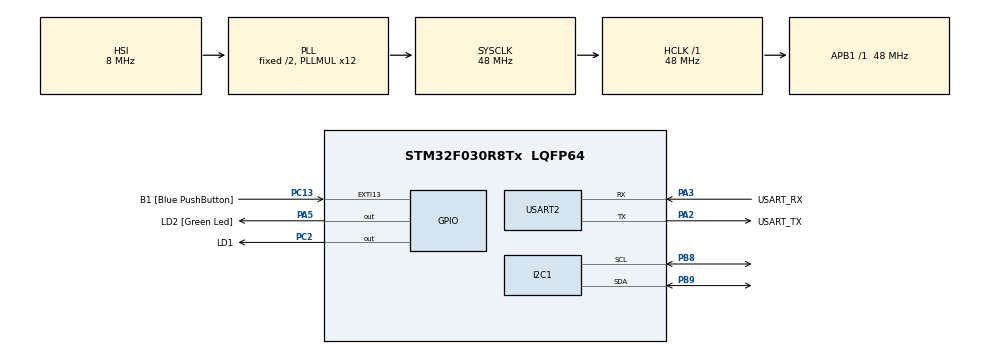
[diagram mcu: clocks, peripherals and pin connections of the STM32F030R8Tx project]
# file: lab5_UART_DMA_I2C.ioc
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Dma.Request0=USART2_RX
Dma.USART2_RX.0.Direction=DMA_PERIPH_TO_MEMORY
Dma.USART2_RX.0.Instance=DMA1_Channel5
Dma.USART2_RX.0.MemDataAlignment=DMA_MDATAALIGN_BYTE
Dma.USART2_RX.0.MemInc=DMA_MINC_ENABLE
Dma.USART2_RX.0.Mode=DMA_CIRCULAR
Dma.USART2_RX.0.PeriphDataAlignment=DMA_PDATAALIGN_BYTE
Dma.USART2_RX.0.PeriphInc=DMA_PINC_DISABLE
Dma.USART2_RX.0.Priority=DMA_PRIORITY_LOW
Mcu.Family=STM32F0
Mcu.Name=STM32F030R8Tx
Mcu.Package=LQFP64
NVIC.DMA1_Channel4_5_IRQn=true\:0\:0\:false\:false\:true\:false\:true
PA13.GPIO_Label=TMS
PA13.Mode=Serial_Wire
PA13.Signal=SYS_SWDIO
PA14.GPIO_Label=TCK
PA14.Mode=Serial_Wire
PA14.Signal=SYS_SWCLK
PA2.GPIO_Label=USART_TX
PA2.GPIO_Mode=GPIO_MODE_AF_PP
PA2.GPIO_PuPd=GPIO_NOPULL
PA2.GPIO_Speed=GPIO_SPEED_FREQ_LOW
PA2.Mode=Asynchronous
PA2.Signal=USART2_TX
PA3.GPIO_Label=USART_RX
PA3.GPIO_Mode=GPIO_MODE_AF_PP
PA3.GPIO_PuPd=GPIO_NOPULL
PA3.GPIO_Speed=GPIO_SPEED_FREQ_LOW
PA3.Mode=Asynchronous
PA3.Signal=USART2_RX
PA5.GPIO_Label=LD2 [Green Led]
PA5.GPIO_Mode=GPIO_MODE_OUTPUT_PP
PA5.GPIO_PuPd=GPIO_NOPULL
PA5.GPIO_Speed=GPIO_SPEED_FREQ_LOW
PA5.Signal=GPIO_Output
PB8.Mode=I2C
PB8.Signal=I2C1_SCL
PB9.Mode=I2C
PB9.Signal=I2C1_SDA
PC13.GPIO_Label=B1 [Blue PushButton]
PC13.GPIO_ModeDefaultEXTI=GPIO_MODE_IT_FALLING
PC13.Signal=GPXTI13
PC14-OSC32_IN.Mode=LSE-External-Oscillator
PC14-OSC32_IN.Signal=RCC_OSC32_IN
PC15-OSC32_OUT.Mode=LSE-External-Oscillator
PC15-OSC32_OUT.Signal=RCC_OSC32_OUT
PC2.GPIO_Label=LD1
PC2.Signal=GPIO_Output
PF0-OSC_IN.Mode=HSE-External-Clock-Source
PF0-OSC_IN.Signal=RCC_OSC_IN
PF1-OSC_OUT.Signal=RCC_OSC_OUT
ProjectManager.HeapSize=0x200
ProjectManager.StackSize=0x400
ProjectManager.TargetToolchain=STM32CubeIDE
RCC.AHBFreq_Value=48000000
RCC.APB1Freq_Value=48000000
RCC.APB1TimFreq_Value=48000000
RCC.HCLKFreq_Value=48000000
RCC.PLLMUL=RCC_PLL_MUL12
RCC.SYSCLKFreq_VALUE=48000000
RCC.SYSCLKSource=RCC_SYSCLKSOURCE_PLLCLK
USART2.VirtualMode-Asynchronous=VM_ASYNC
board=NUCLEO-F030R8

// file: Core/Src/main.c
/* USER CODE BEGIN Header */
/**
  ******************************************************************************
  * @file           : main.c
  * @brief          : Main program body
  ******************************************************************************
  * @attention
  *
  * <h2><center>&copy; Copyright (c) 2021 STMicroelectronics.
  * All rights reserved.</center></h2>
  *
  * This software component is licensed by ST under BSD 3-Clause license,
  * the "License"; You may not use this file except in compliance with the
  * License. You may obtain a copy of the License at:
  *                        opensource.org/licenses/BSD-3-Clause
  *
  ******************************************************************************
  */
/* USER CODE END Header */
#include "main.h"

/* USER CODE BEGIN Includes */
#include <stdio.h> //for printf
#include <string.h> //strtoc, strcmp

/* USER CODE END Includes */

I2C_HandleTypeDef hi2c1;

UART_HandleTypeDef huart2;
DMA_HandleTypeDef hdma_usart2_rx;

/* USER CODE BEGIN PV */
#define RX_BUFFER_LEN 64
#define CMD_BUFFER_LEN 64
#define EEPROM_ADDR 0xA0
static uint8_t uart_rx_buffer[RX_BUFFER_LEN];
static volatile uint16_t uart_rx_pointer_read = 0;
#define uart_rx_pointer_write (RX_BUFFER_LEN - hdma_usart2_rx.Instance->CNDTR)

/* USER CODE END PV */

void SystemClock_Config(void);
static void MX_GPIO_Init(void);
static void MX_DMA_Init(void);
static void MX_USART2_UART_Init(void);
static void MX_I2C1_Init(void);
/* USER CODE BEGIN PFP */
static void uart_process_command(char *cmd)
{
	//printf is overloaded to print data into UART2
	//printf("received: '%s'\n", cmd);

	char *command;
	command = strtok(cmd, " "); //similarly to python's list.split, but takes only first one..
	if (  strcasecmp(command, "HELLO") == 0   ){
		printf("I'm ready!\n");
	}

	else if (  strcasecmp(command, "LED2") == 0   )
	{
		command = strtok(NULL, " "); //take last result from strtok -> 2nd word
		printf("I'm ready!\n");
		if (  strcasecmp(command, "ON") == 0   ){
			HAL_GPIO_WritePin(LD2_GPIO_Port, LD2_Pin,GPIO_PIN_SET );
			printf("Turning LED2 ON\n");
		}
		else if (  strcasecmp(command, "OFF") == 0   ){
			HAL_GPIO_WritePin(LD2_GPIO_Port, LD2_Pin,GPIO_PIN_RESET );
			printf("Turning LED2 OFF\n");
		}
	}

	else if (  strcasecmp(command, "LED1") == 0   )
	{
		command = strtok(NULL, " "); //take last result from strtok -> 2nd word
		printf("I'm ready!\n");
		if (  strcasecmp(command, "ON") == 0   ){
			HAL_GPIO_WritePin(LD1_GPIO_Port, LD1_Pin,GPIO_PIN_SET );
			printf("Turning LED1 ON\n");
		}
		if (  strcasecmp(command, "OFF") == 0   ){
			HAL_GPIO_WritePin(LD1_GPIO_Port, LD1_Pin,GPIO_PIN_RESET );
			printf("Turning LED1 OFF\n");
		}
	}

	else if (  strcasecmp(command, "STATUS") == 0   )
	{
		if (HAL_GPIO_ReadPin(LD1_GPIO_Port,LD1_Pin ) == 0 )
			printf("status LED 1: OFF");
		else {
			printf("status LED 1: ON");
		}

		if (HAL_GPIO_ReadPin(LD2_GPIO_Port,LD2_Pin ) == 0 )
			printf("status LED 2: OFF\n");
		else {
			printf("status LED 2: ON\n");
		}

	}
/*
	else if (  strcasecmp(command, "READ") == 0   )
	{
		command = strtok(NULL, " ");
		uint16_t addr = atoi(command);
		uint8_t value;

		HAL_I2C_Mem_Read(&hi2c1, EEPROM_ADDR, addr, I2C_MEMADD_SIZE_16BIT, &value, 1, 1000);
		printf("Address 0x%04X = 0x%02X\n", addr, value);

	}
*/

	else{
		printf("Unknown command\n");
	}

}

int _write(int file, char const *buf, int n)
{
	HAL_UART_Transmit(&huart2, (uint8_t*)(buf), n, HAL_MAX_DELAY);
	return n; //size
}

static void uart_byte_avaiable(uint8_t c)
{
	 static uint16_t cnt;
	 static char data[CMD_BUFFER_LEN];
	 // 32 - 126 represents common ASCI characters

	 if (cnt < CMD_BUFFER_LEN && c >= 32 && c <= 126){

		 data[cnt] = c; //put received character into data array
		 cnt++; //increment pointer of array
	 }
	 if ((c == '\n' || c == '\r' || c == '*') && cnt > 0) {
		 data[cnt] = '\0'; //create C string from received character
		 uart_process_command(data);
		 cnt = 0;
	 }
}

/* USER CODE END PFP */

int main(void)
{

  /* MCU Configuration--------------------------------------------------------*/

  /* Reset of all peripherals, Initializes the Flash interface and the Systick. */
  HAL_Init();

  /* Configure the system clock */
  SystemClock_Config();

  /* Initialize all configured peripherals */
  MX_GPIO_Init();
  MX_DMA_Init();
  MX_USART2_UART_Init();
  MX_I2C1_Init();
  /* USER CODE BEGIN 2 */
  HAL_UART_Receive_DMA(&huart2, uart_rx_buffer, RX_BUFFER_LEN);
  /* USER CODE END 2 */

  /* Infinite loop */
  while (1)
  {

    /* USER CODE BEGIN 3 */

	while(uart_rx_pointer_read != uart_rx_pointer_write){
		  uint8_t b = uart_rx_buffer[uart_rx_pointer_read];
		  uart_rx_pointer_read++;

		  if (uart_rx_pointer_read >= RX_BUFFER_LEN){
			  uart_rx_pointer_read = 0;
		  }
		  uart_byte_avaiable(b);

	  }
/*

	  //LOOPBACK
	  uint8_t UARTchar;
	  //take received char into UARTchar
	  HAL_UART_Receive(&huart2, &UARTchar, 1, HAL_MAX_DELAY);

	  //Transmitt UARTchar
	  HAL_UART_Transmit(&huart2, &UARTchar, 1, HAL_MAX_DELAY);

*/
  }
  /* USER CODE END 3 */
}

void SystemClock_Config(void)
{
  RCC_OscInitTypeDef RCC_OscInitStruct = {0};
  RCC_ClkInitTypeDef RCC_ClkInitStruct = {0};
  RCC_PeriphCLKInitTypeDef PeriphClkInit = {0};

  /** Initializes the RCC Oscillators according to the specified parameters
  * in the RCC_OscInitTypeDef structure.
  */
  RCC_OscInitStruct.OscillatorType = RCC_OSCILLATORTYPE_HSI;
  RCC_OscInitStruct.HSIState = RCC_HSI_ON;
  RCC_OscInitStruct.HSICalibrationValue = RCC_HSICALIBRATION_DEFAULT;
  RCC_OscInitStruct.PLL.PLLState = RCC_PLL_ON;
  RCC_OscInitStruct.PLL.PLLSource = RCC_PLLSOURCE_HSI;
  RCC_OscInitStruct.PLL.PLLMUL = RCC_PLL_MUL12;
  RCC_OscInitStruct.PLL.PREDIV = RCC_PREDIV_DIV1;
  if (HAL_RCC_OscConfig(&RCC_OscInitStruct) != HAL_OK)
  {
    Error_Handler();
  }
  /** Initializes the CPU, AHB and APB buses clocks
  */
  RCC_ClkInitStruct.ClockType = RCC_CLOCKTYPE_HCLK|RCC_CLOCKTYPE_SYSCLK
                              |RCC_CLOCKTYPE_PCLK1;
  RCC_ClkInitStruct.SYSCLKSource = RCC_SYSCLKSOURCE_PLLCLK;
  RCC_ClkInitStruct.AHBCLKDivider = RCC_SYSCLK_DIV1;
  RCC_ClkInitStruct.APB1CLKDivider = RCC_HCLK_DIV1;

  if (HAL_RCC_ClockConfig(&RCC_ClkInitStruct, FLASH_LATENCY_1) != HAL_OK)
  {
    Error_Handler();
  }
  PeriphClkInit.PeriphClockSelection = RCC_PERIPHCLK_I2C1;
  PeriphClkInit.I2c1ClockSelection = RCC_I2C1CLKSOURCE_HSI;
  if (HAL_RCCEx_PeriphCLKConfig(&PeriphClkInit) != HAL_OK)
  {
    Error_Handler();
  }
}

static void MX_I2C1_Init(void)
{

  hi2c1.Instance = I2C1;
  hi2c1.Init.Timing = 0x2000090E;
  hi2c1.Init.OwnAddress1 = 0;
  hi2c1.Init.AddressingMode = I2C_ADDRESSINGMODE_7BIT;
  hi2c1.Init.DualAddressMode = I2C_DUALADDRESS_DISABLE;
  hi2c1.Init.OwnAddress2 = 0;
  hi2c1.Init.OwnAddress2Masks = I2C_OA2_NOMASK;
  hi2c1.Init.GeneralCallMode = I2C_GENERALCALL_DISABLE;
  hi2c1.Init.NoStretchMode = I2C_NOSTRETCH_DISABLE;
  if (HAL_I2C_Init(&hi2c1) != HAL_OK)
  {
    Error_Handler();
  }
  /** Configure Analogue filter
  */
  if (HAL_I2CEx_ConfigAnalogFilter(&hi2c1, I2C_ANALOGFILTER_ENABLE) != HAL_OK)
  {
    Error_Handler();
  }
  /** Configure Digital filter
  */
  if (HAL_I2CEx_ConfigDigitalFilter(&hi2c1, 0) != HAL_OK)
  {
    Error_Handler();
  }

}

static void MX_USART2_UART_Init(void)
{

  huart2.Instance = USART2;
  huart2.Init.BaudRate = 38400;
  huart2.Init.WordLength = UART_WORDLENGTH_8B;
  huart2.Init.StopBits = UART_STOPBITS_1;
  huart2.Init.Parity = UART_PARITY_NONE;
  huart2.Init.Mode = UART_MODE_TX_RX;
  huart2.Init.HwFlowCtl = UART_HWCONTROL_NONE;
  huart2.Init.OverSampling = UART_OVERSAMPLING_16;
  huart2.Init.OneBitSampling = UART_ONE_BIT_SAMPLE_DISABLE;
  huart2.AdvancedInit.AdvFeatureInit = UART_ADVFEATURE_NO_INIT;
  if (HAL_UART_Init(&huart2) != HAL_OK)
  {
    Error_Handler();
  }

}

static void MX_DMA_Init(void)
{

  /* DMA controller clock enable */
  __HAL_RCC_DMA1_CLK_ENABLE();

  /* DMA interrupt init */
  /* DMA1_Channel4_5_IRQn interrupt configuration */
  HAL_NVIC_SetPriority(DMA1_Channel4_5_IRQn, 0, 0);
  HAL_NVIC_EnableIRQ(DMA1_Channel4_5_IRQn);

}

static void MX_GPIO_Init(void)
{
  GPIO_InitTypeDef GPIO_InitStruct = {0};

  /* GPIO Ports Clock Enable */
  __HAL_RCC_GPIOC_CLK_ENABLE();
  __HAL_RCC_GPIOF_CLK_ENABLE();
  __HAL_RCC_GPIOA_CLK_ENABLE();
  __HAL_RCC_GPIOB_CLK_ENABLE();

  /*Configure GPIO pin Output Level */
  HAL_GPIO_WritePin(LD1_GPIO_Port, LD1_Pin, GPIO_PIN_RESET);

  /*Configure GPIO pin Output Level */
  HAL_GPIO_WritePin(LD2_GPIO_Port, LD2_Pin, GPIO_PIN_RESET);

  /*Configure GPIO pin : B1_Pin */
  GPIO_InitStruct.Pin = B1_Pin;
  GPIO_InitStruct.Mode = GPIO_MODE_IT_FALLING;
  GPIO_InitStruct.Pull = GPIO_NOPULL;
  HAL_GPIO_Init(B1_GPIO_Port, &GPIO_InitStruct);

  /*Configure GPIO pin : LD1_Pin */
  GPIO_InitStruct.Pin = LD1_Pin;
  GPIO_InitStruct.Mode = GPIO_MODE_OUTPUT_PP;
  GPIO_InitStruct.Pull = GPIO_NOPULL;
  GPIO_InitStruct.Speed = GPIO_SPEED_FREQ_LOW;
  HAL_GPIO_Init(LD1_GPIO_Port, &GPIO_InitStruct);

  /*Configure GPIO pin : LD2_Pin */
  GPIO_InitStruct.Pin = LD2_Pin;
  GPIO_InitStruct.Mode = GPIO_MODE_OUTPUT_PP;
  GPIO_InitStruct.Pull = GPIO_NOPULL;
  GPIO_InitStruct.Speed = GPIO_SPEED_FREQ_LOW;
  HAL_GPIO_Init(LD2_GPIO_Port, &GPIO_InitStruct);

}

void Error_Handler(void)
{
  __disable_irq();
  while (1)
  {
  }
}

/************************ (C) COPYRIGHT STMicroelectronics *****END OF FILE****/
